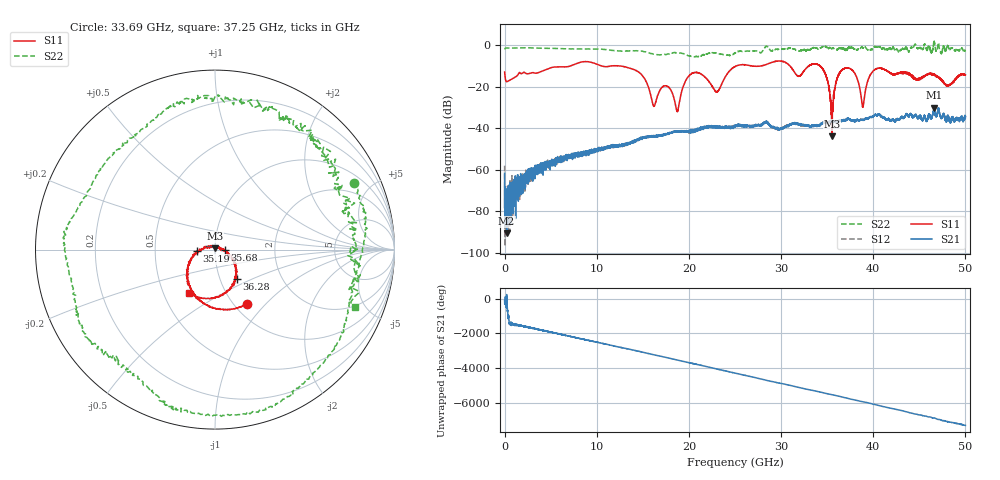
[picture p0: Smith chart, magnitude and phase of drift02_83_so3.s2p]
!Created with skrf (http://scikit-rf.org).
# Hz S RI R 50.0
!freq ReS11 ImS11 ReS21 ImS21 ReS12 ImS12 ReS22 ImS22
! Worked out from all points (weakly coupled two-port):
!   10001 points, 300 kHz to 50 GHz, reference 50 ohm
!   highest |S21| = -30.17 dB at 46.6 GHz (marker M1); lowest = -90.5 dB at 215.3 MHz (marker M2)
!   lowest |S11| = -43.8 dB at 35.53 GHz (marker M3), VSWR 1.01, Z = 50 + j0.642 ohm
!   |S11| at or under -10 dB: start of sweep to 7.181 GHz; 12.4 GHz to 25.18 GHz (12.78 GHz wide, 68 % of centre); 34.22 GHz to end of sweep (the widest 3 of 16)
!   |S22| runs from -5.7 to 2.2 dB; largest |S21 - S12| = 0.0043
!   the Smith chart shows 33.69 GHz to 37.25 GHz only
!   S11 on the Smith chart (normalised r, x): 33.69 GHz: 1.14, -0.79; 35.19 GHz: 0.82, -0.01; 35.68 GHz: 1.12, -0.01; 36.28 GHz: 1.20, -0.41; 37.25 GHz: 0.67, -0.36
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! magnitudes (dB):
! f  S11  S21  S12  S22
! 300 kHz  -12.9  -61.6  -58.0  -2.1
! 215.3 MHz  -17.6  -90.5  -79.0  -1.4
! 8.335 GHz  -8.2  -53.0  -52.1  -1.9
! 14.05 GHz  -11.8  -45.9  -46.5  -2.8
! 16.67 GHz  -23.4  -43.5  -44.0  -4.7
! 17.71 GHz  -20.0  -42.9  -42.5  -4.3
! 18.74 GHz  -32.0  -41.5  -41.3  -3.7
! 20.24 GHz  -13.9  -41.1  -41.6  -5.4
! 23.04 GHz  -22.4  -39.5  -38.9  -4.1
! 25 GHz  -10.3  -39.2  -39.0  -3.9
! 33.34 GHz  -9.2  -39.1  -38.8  -1.6
! 33.69 GHz  -9.1  -38.9  -38.4  -1.3
! 35.19 GHz  -19.9  -36.8  -37.0  -1.6
! 35.53 GHz  -43.8  -36.7  -37.1  -1.7
! 35.68 GHz  -25.1  -36.7  -36.9  -1.5
! 36.28 GHz  -13.8  -36.8  -36.7  -1.6
! 37.25 GHz  -11.0  -35.2  -35.2  -1.5
! 38.86 GHz  -29.8  -35.9  -35.9  -1.3
! 39.96 GHz  -12.7  -34.4  -34.4  -1.9
! 41.67 GHz  -12.9  -35.7  -35.7  -1.9
! 46.6 GHz  -14.3  -30.2  -30.4  1.9
! 50 GHz  -14.4  -34.4  -34.4  -2.6
